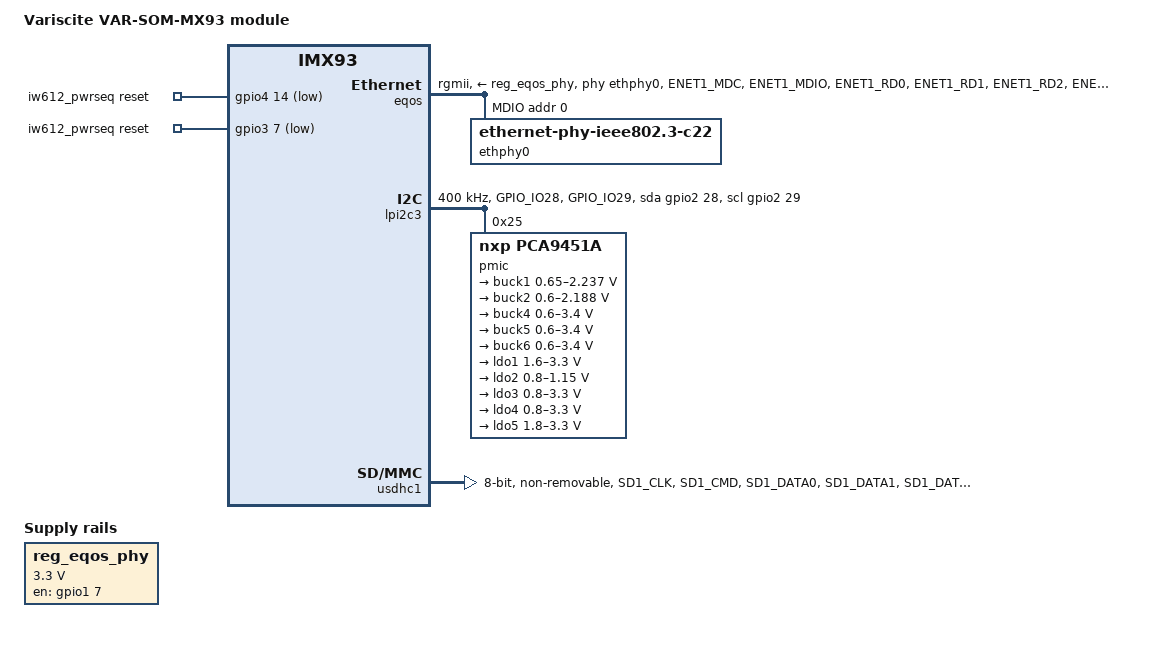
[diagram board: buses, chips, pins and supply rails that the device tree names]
// SPDX-License-Identifier: (GPL-2.0+ OR MIT)
/*
 * Copyright 2022 NXP
 * Copyright 2023 Variscite Ltd.
 */

/dts-v1/;

#include <dt-bindings/usb/pd.h>
#include "imx93.dtsi"

/{
	model = "Variscite VAR-SOM-MX93 module";
	compatible = "variscite,var-som-imx93", "fsl,imx93";

	iw612_pwrseq: iw612_pwrseq {
		compatible = "mmc-pwrseq-simple";
		post-power-on-delay-ms = <100>;
		power-off-delay-us = <10000>;
		reset-gpios = <&gpio4 14 GPIO_ACTIVE_LOW>,	/* WIFI_RESET */
			      <&gpio3 7 GPIO_ACTIVE_LOW>;	/* WIFI_PWR_EN */
		status = "okay";
	};

	reg_eqos_phy: regulator-eqos-phy {
		compatible = "regulator-fixed";
		pinctrl-names = "default";
		pinctrl-0 = <&pinctrl_reg_eqos_phy>;
		regulator-name = "eth_phy_pwr";
		regulator-min-microvolt = <3300000>;
		regulator-max-microvolt = <3300000>;
		gpio = <&gpio1 7 GPIO_ACTIVE_HIGH>;
		enable-active-high;
		startup-delay-us = <100000>;
		regulator-always-on;
	};
};

&eqos {
	pinctrl-names = "default";
	pinctrl-0 = <&pinctrl_eqos>;
	phy-mode = "rgmii";
	phy-handle = <&ethphy0>;
	phy-supply = <&reg_eqos_phy>;
	status = "okay";

	mdio {
		compatible = "snps,dwmac-mdio";
		#address-cells = <1>;
		#size-cells = <0>;
		clock-frequency = <1000000>;

		ethphy0: ethernet-phy@0 {
			compatible = "ethernet-phy-ieee802.3-c22";
			reg = <0>;
			eee-broken-1000t;
		};
	};
};

&iomuxc {
	pinctrl_bt: btgrp {
		fsl,pins = <
			MX93_PAD_ENET2_MDIO__GPIO4_IO15				0x51e
		>;
	};

	pinctrl_eqos: eqosgrp {
		fsl,pins = <
			MX93_PAD_ENET1_MDC__ENET_QOS_MDC			0x57e
			MX93_PAD_ENET1_MDIO__ENET_QOS_MDIO			0x57e
			MX93_PAD_ENET1_RD0__ENET_QOS_RGMII_RD0			0x57e
			MX93_PAD_ENET1_RD1__ENET_QOS_RGMII_RD1			0x57e
			MX93_PAD_ENET1_RD2__ENET_QOS_RGMII_RD2			0x57e
			MX93_PAD_ENET1_RD3__ENET_QOS_RGMII_RD3			0x57e
			MX93_PAD_ENET1_RXC__CCM_ENET_QOS_CLOCK_GENERATE_RX_CLK	0x5fe
			MX93_PAD_ENET1_RX_CTL__ENET_QOS_RGMII_RX_CTL		0x57e
			MX93_PAD_ENET1_TD0__ENET_QOS_RGMII_TD0			0x57e
			MX93_PAD_ENET1_TD1__ENET_QOS_RGMII_TD1			0x57e
			MX93_PAD_ENET1_TD2__ENET_QOS_RGMII_TD2			0x57e
			MX93_PAD_ENET1_TD3__ENET_QOS_RGMII_TD3			0x57e
			MX93_PAD_ENET1_TXC__CCM_ENET_QOS_CLOCK_GENERATE_TX_CLK	0x5fe
			MX93_PAD_ENET1_TX_CTL__ENET_QOS_RGMII_TX_CTL		0x57e
		>;
	};

	pinctrl_lpi2c3: lpi2c3grp {
		fsl,pins = <
			MX93_PAD_GPIO_IO28__LPI2C3_SDA			0x40000b9e
			MX93_PAD_GPIO_IO29__LPI2C3_SCL			0x40000b9e
		>;
	};

	pinctrl_lpi2c3_gpio: lpi2c3grp-gpio {
		fsl,pins = <
			MX93_PAD_GPIO_IO28__GPIO2_IO28			0x40000b9e
			MX93_PAD_GPIO_IO29__GPIO2_IO29			0x40000b9e
		>;
	};

	pinctrl_lpspi8: lpspi8grp {
		fsl,pins = <
			MX93_PAD_GPIO_IO12__GPIO2_IO12			0x31e
			MX93_PAD_GPIO_IO13__LPSPI8_SIN			0x31e
			MX93_PAD_GPIO_IO14__LPSPI8_SOUT			0x31e
			MX93_PAD_GPIO_IO15__LPSPI8_SCK			0x31e
		>;
	};

	pinctrl_reg_eqos_phy: regeqosgrp {
		fsl,pins = <
			MX93_PAD_UART2_TXD__GPIO1_IO07			0x51e
		>;
	};

	pinctrl_wifi: wifigrp {
		fsl,pins = <
			MX93_PAD_ENET2_MDC__GPIO4_IO14			0x51e /* WIFI_REG_ON     */
			MX93_PAD_SD2_RESET_B__GPIO3_IO07		0x51e /* WIFI_PWR_EN     */
		>;
	};

	pinctrl_restouch: restouchgrp {
		fsl,pins = <
			MX93_PAD_CCM_CLKO4__GPIO4_IO29			0x31e
		>;
	};

	pinctrl_sai1: sai1grp {
		fsl,pins = <
			MX93_PAD_SAI1_TXC__SAI1_TX_BCLK			0x31e
			MX93_PAD_SAI1_TXFS__SAI1_TX_SYNC		0x31e
			MX93_PAD_SAI1_TXD0__SAI1_TX_DATA00		0x31e
			MX93_PAD_SAI1_RXD0__SAI1_RX_DATA00		0x31e
			MX93_PAD_I2C2_SDA__SAI1_RX_BCLK			0x31e
			MX93_PAD_I2C2_SCL__SAI1_RX_SYNC			0x31e
			MX93_PAD_UART2_RXD__SAI1_MCLK			0x31e
		>;
	};

	pinctrl_sai1_sleep: sai1grp-sleep {
		fsl,pins = <
			MX93_PAD_SAI1_TXC__GPIO1_IO12		0x31e
			MX93_PAD_SAI1_TXFS__GPIO1_IO11		0x31e
			MX93_PAD_SAI1_TXD0__GPIO1_IO13		0x31e
			MX93_PAD_SAI1_RXD0__GPIO1_IO14		0x31e
			MX93_PAD_UART2_RXD__GPIO1_IO06		0x31e
			MX93_PAD_I2C2_SDA__GPIO1_IO03		0x31e
			MX93_PAD_I2C2_SCL__GPIO1_IO02		0x31e
		>;
	};

	pinctrl_uart5: uart5grp {
		fsl,pins = <
			MX93_PAD_DAP_TDO_TRACESWO__LPUART5_TX	0x31e
			MX93_PAD_DAP_TDI__LPUART5_RX		0x31e
			MX93_PAD_DAP_TMS_SWDIO__LPUART5_RTS_B	0x31e
			MX93_PAD_DAP_TCLK_SWCLK__LPUART5_CTS_B	0x31e
		>;
	};

	pinctrl_usdhc1: usdhc1grp {
		fsl,pins = <
			MX93_PAD_SD1_CLK__USDHC1_CLK		0x15fe
			MX93_PAD_SD1_CMD__USDHC1_CMD		0x13fe
			MX93_PAD_SD1_DATA0__USDHC1_DATA0	0x13fe
			MX93_PAD_SD1_DATA1__USDHC1_DATA1	0x13fe
			MX93_PAD_SD1_DATA2__USDHC1_DATA2	0x13fe
			MX93_PAD_SD1_DATA3__USDHC1_DATA3	0x13fe
			MX93_PAD_SD1_DATA4__USDHC1_DATA4	0x13fe
			MX93_PAD_SD1_DATA5__USDHC1_DATA5	0x13fe
			MX93_PAD_SD1_DATA6__USDHC1_DATA6	0x13fe
			MX93_PAD_SD1_DATA7__USDHC1_DATA7	0x13fe
			MX93_PAD_SD1_STROBE__USDHC1_STROBE	0x15fe
		>;
	};

	pinctrl_usdhc3: usdhc3grp {
		fsl,pins = <
			MX93_PAD_SD3_CLK__USDHC3_CLK		0x1382
			MX93_PAD_SD3_CMD__USDHC3_CMD		0x1382
			MX93_PAD_SD3_DATA0__USDHC3_DATA0	0x1382
			MX93_PAD_SD3_DATA1__USDHC3_DATA1	0x1382
			MX93_PAD_SD3_DATA2__USDHC3_DATA2	0x1382
			MX93_PAD_SD3_DATA3__USDHC3_DATA3	0x1382
		>;
	};

	pinctrl_usdhc3_sleep: usdhc3grp-sleep {
		fsl,pins = <
			MX93_PAD_SD3_CLK__GPIO3_IO20		0x400
			MX93_PAD_SD3_CMD__GPIO3_IO21		0x400
			MX93_PAD_SD3_DATA0__GPIO3_IO22		0x400
			MX93_PAD_SD3_DATA1__GPIO3_IO23		0x400
			MX93_PAD_SD3_DATA2__GPIO3_IO24		0x400
			MX93_PAD_SD3_DATA3__GPIO3_IO25		0x400
		>;
	};
};

&lpi2c3 {
	#address-cells = <1>;
	#size-cells = <0>;
	clock-frequency = <400000>;
	pinctrl-names = "default", "sleep", "gpio";
	pinctrl-0 = <&pinctrl_lpi2c3>;
	pinctrl-1 = <&pinctrl_lpi2c3_gpio>;
	pinctrl-2 = <&pinctrl_lpi2c3_gpio>;
	scl-gpios = <&gpio2 29 GPIO_ACTIVE_HIGH>;
	sda-gpios = <&gpio2 28 GPIO_ACTIVE_HIGH>;
	status = "okay";

	pmic@25 {
		compatible = "nxp,pca9451a";
		reg = <0x25>;

		regulators {
			buck1: BUCK1 {
				regulator-name = "BUCK1";
				regulator-min-microvolt = <650000>;
				regulator-max-microvolt = <2237500>;
				regulator-boot-on;
				regulator-always-on;
				regulator-ramp-delay = <3125>;
			};

			buck2: BUCK2 {
				regulator-name = "BUCK2";
				regulator-min-microvolt = <600000>;
				regulator-max-microvolt = <2187500>;
				regulator-boot-on;
				regulator-always-on;
				regulator-ramp-delay = <3125>;
			};

			buck4: BUCK4{
				regulator-name = "BUCK4";
				regulator-min-microvolt = <600000>;
				regulator-max-microvolt = <3400000>;
				regulator-boot-on;
				regulator-always-on;
			};

			buck5: BUCK5{
				regulator-name = "BUCK5";
				regulator-min-microvolt = <600000>;
				regulator-max-microvolt = <3400000>;
				regulator-boot-on;
				regulator-always-on;
			};

			buck6: BUCK6 {
				regulator-name = "BUCK6";
				regulator-min-microvolt = <600000>;
				regulator-max-microvolt = <3400000>;
				regulator-boot-on;
				regulator-always-on;
			};

			ldo1: LDO1 {
				regulator-name = "LDO1";
				regulator-min-microvolt = <1600000>;
				regulator-max-microvolt = <3300000>;
				regulator-boot-on;
				regulator-always-on;
			};

			ldo2: LDO2 {
				regulator-name = "LDO2";
				regulator-min-microvolt = <800000>;
				regulator-max-microvolt = <1150000>;
				regulator-boot-on;
				regulator-always-on;
			};

			ldo3: LDO3 {
				regulator-name = "LDO3";
				regulator-min-microvolt = <800000>;
				regulator-max-microvolt = <3300000>;
				regulator-boot-on;
				regulator-always-on;
			};

			ldo4: LDO4 {
				regulator-name = "LDO4";
				regulator-min-microvolt = <800000>;
				regulator-max-microvolt = <3300000>;
				regulator-boot-on;
				regulator-always-on;
			};

			ldo5: LDO5 {
				regulator-name = "LDO5";
				regulator-min-microvolt = <1800000>;
				regulator-max-microvolt = <3300000>;
				regulator-boot-on;
				regulator-always-on;
			};
		};
	};
};

/* eMMC */
&usdhc1 {
	pinctrl-names = "default", "state_100mhz", "state_200mhz";
	pinctrl-0 = <&pinctrl_usdhc1>;
	pinctrl-1 = <&pinctrl_usdhc1>;
	pinctrl-2 = <&pinctrl_usdhc1>;
	bus-width = <8>;
	non-removable;
	status = "okay";
};
